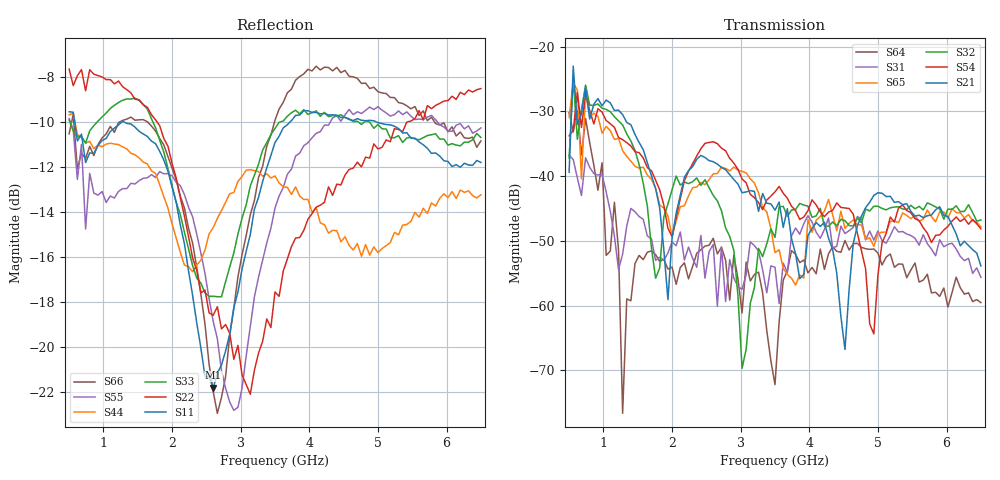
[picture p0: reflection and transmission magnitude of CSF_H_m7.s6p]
!Keysight Technologies,M9804A,MY58100912,A.14.10.03
!Date: Thursday, April 27, 2023 10:28:33
!Correction: S11(C  6-Port  )
!S12(C  6-Port  )
!S13(C  6-Port  )
!S14(C  6-Port  )
!S15(C  6-Port  )
!S16(C  6-Port  )
!S21(C  6-Port  )
!S22(C  6-Port  )
!S23(C  6-Port  )
!S24(C  6-Port  )
!S25(C  6-Port  )
!S26(C  6-Port  )
!S31(C  6-Port  )
!S32(C  6-Port  )
!S33(C  6-Port  )
!S34(C  6-Port  )
!S35(C  6-Port  )
!S36(C  6-Port  )
!S41(C  6-Port  )
!S42(C  6-Port  )
!S43(C  6-Port  )
!S44(C  6-Port  )
!S45(C  6-Port  )
!S46(C  6-Port  )
!S51(C  6-Port  )
!S52(C  6-Port  )
!S53(C  6-Port  )
!S54(C  6-Port  )
!S55(C  6-Port  )
!S56(C  6-Port  )
!S61(C  6-Port  )
!S62(C  6-Port  )
!S63(C  6-Port  )
!S64(C  6-Port  )
!S65(C  6-Port  )
!S66(C  6-Port  )
!S6P File: Measurement: :
# Hz S  RI  R 50
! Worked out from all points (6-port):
!   101 points, 500 MHz to 6.5 GHz, reference 50 ohm
!   strongest paths, dB at 500 MHz, 2 GHz, 3.5 GHz, 5 GHz, 6.5 GHz:
!     S21: -39.4, -49.6, -45.3, -42.6, -53.9
!     S54: -33.8, -49.3, -42.4, -55.2, -48.2
!     S32: -37.2, -42.1, -49.5, -44.7, -46.8
!     S65: -30.9, -49.3, -51.8, -48.9, -47.9
!     S31: -36.8, -50.2, -54.1, -48.5, -55.6
!     S64: -30.2, -54.1, -72.2, -51.9, -59.5
!   lowest |S11| = -21.8 dB at 2.6 GHz (marker M1), VSWR 1.18, Z = 42.7 + j1.92 ohm
!   |S11| at or under -10 dB: 580.5 MHz to 1.269 GHz (688.3 MHz wide, 74.4 % of centre); 1.299 GHz to 3.719 GHz (2.419 GHz wide, 96.4 % of centre); 4.98 GHz to end of sweep
